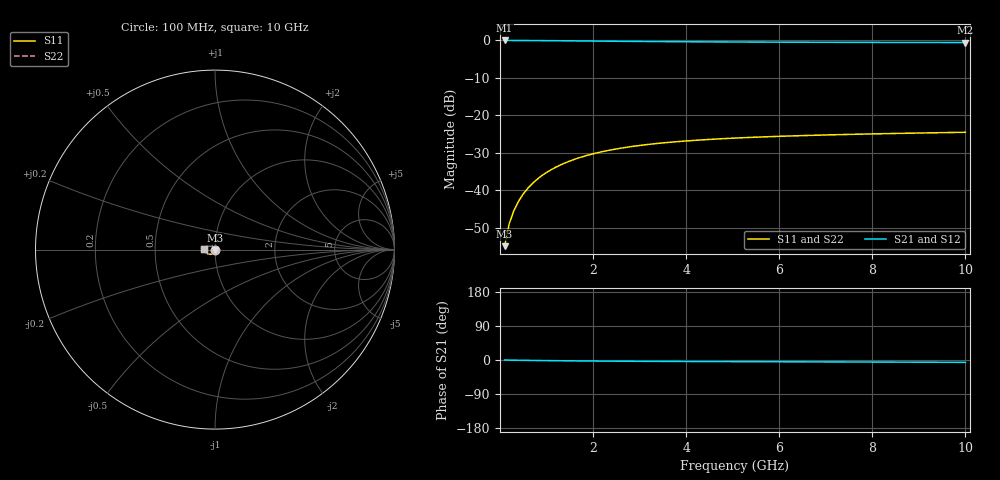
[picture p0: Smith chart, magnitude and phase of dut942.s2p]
! Touchstone file exported from HFSS 2024.1.0
!  File:  C:/UserFiles/LocalFiles/RDL_TSV_Batchsim/temp_TSV1_942_1779948180.aedt
!  Generated:  02:09:10 PM May 28, 2026
!  Design:  TSV1
!  Project:  temp_TSV1_942_1779948180
!  Setup:  Setup1
!  Solution:  Sweep
! Variables:
!  dtsv = 12.78um
!  hbump = 3um
!  htsv = 95.89um
!  lrdl = 252.1521522um
!  p = 40
!  p1 = 59.97um
!  t = 500um
!  trdl = 3um
!  wrdl = 24.89489489um
# GHz S MA R 50.000000
! Terminal data exported
! Port[1] = TSV22_T1
! Port[2] = TSV22_T2
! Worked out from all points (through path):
!   100 points, 100 MHz to 10 GHz, reference 50 ohm
!   highest |S21| = 0.00 dB at 100 MHz (marker M1); lowest = -0.6 dB at 10 GHz (marker M2)
!   lowest |S11| = -54.9 dB at 100 MHz (marker M3), VSWR 1.00, Z = 50 - j0.181 ohm
!   |S11| at or under -10 dB: start of sweep to end of sweep
!   |S22| runs from -54.9 to -24.5 dB; largest |S21 - S12| = 9.3e-15
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0.1  0.001807 -88.8  0.9998 -0.2  0.9998 -0.2  0.001807 -88.8
! Gamma 0 0 0 0
! Port Impedance 50 0 50 0
0.2  0.003609 -92.3  0.9996 -0.3  0.9996 -0.3  0.003609 -92.3
0.3  0.005407 -94.8  0.9993 -0.5  0.9993 -0.5  0.005407 -94.8
0.4  0.007194 -97.0  0.9988 -0.7  0.9988 -0.7  0.007194 -97.0
0.5  0.008963 -99.2  0.9983 -0.8  0.9983 -0.8  0.008963 -99.2
0.6  0.01071 -101.2  0.9976 -1.0  0.9976 -1.0  0.01071 -101.2
0.7  0.01242 -103.3  0.9968 -1.1  0.9968 -1.1  0.01242 -103.3
0.8  0.0141 -105.3  0.996 -1.3  0.996 -1.3  0.0141 -105.3
0.9  0.01574 -107.2  0.9951 -1.4  0.9951 -1.4  0.01574 -107.2
1.1  0.0189 -111.0  0.993 -1.7  0.993 -1.7  0.0189 -111.0
1.4  0.02329 -116.4  0.9895 -2.1  0.9895 -2.1  0.02329 -116.4
1.6  0.02598 -119.8  0.987 -2.3  0.987 -2.3  0.02598 -119.8
1.8  0.02847 -123.1  0.9845 -2.5  0.9845 -2.5  0.02847 -123.1
2.1  0.03185 -127.6  0.9806 -2.8  0.9806 -2.8  0.03185 -127.6
2.5  0.03575 -133.1  0.9757 -3.1  0.9757 -3.1  0.03575 -133.1
2.9  0.03904 -138.1  0.9712 -3.3  0.9712 -3.3  0.03904 -138.1
3.4  0.04243 -143.6  0.9661 -3.6  0.9661 -3.6  0.04243 -143.6
4.2  0.04662 -151.1  0.9594 -4.0  0.9594 -4.0  0.04662 -151.1
5.1  0.05007 -158.1  0.9535 -4.3  0.9535 -4.3  0.05007 -158.1
6.7  0.0543 -168.0  0.9464 -4.9  0.9464 -4.9  0.0543 -168.0
8.4  0.05738 -176.4  0.9416 -5.5  0.9416 -5.5  0.05738 -176.4
10  0.05964 177.1  0.9386 -6.1  0.9386 -6.1  0.05964 177.1
